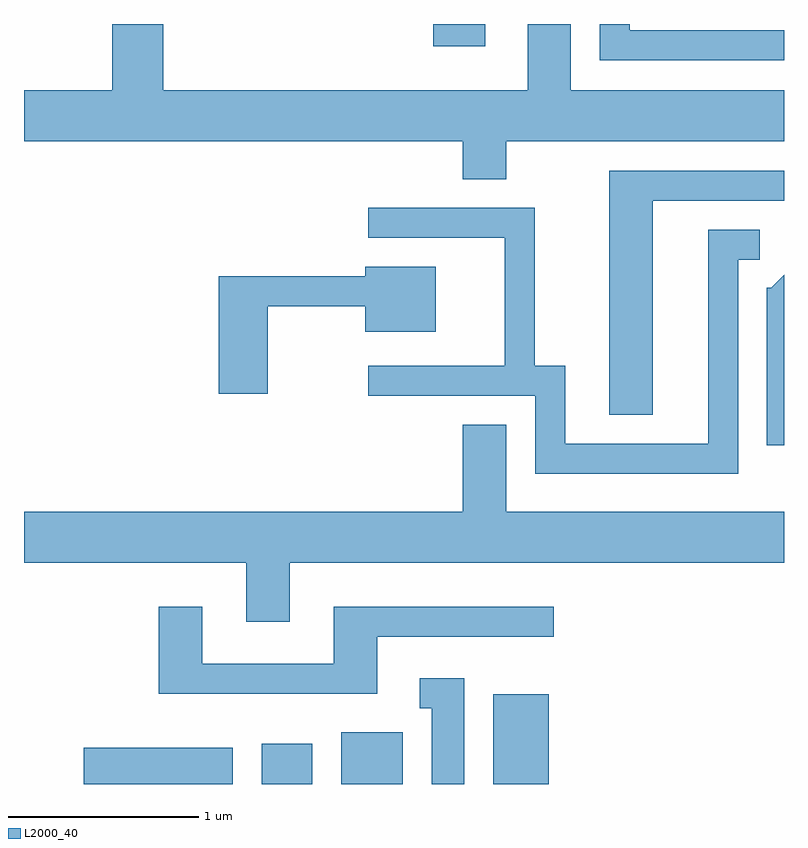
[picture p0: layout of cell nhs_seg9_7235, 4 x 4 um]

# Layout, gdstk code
import gdstk
lib = gdstk.Library(unit=1e-6, precision=1e-09)
def R(c, l, rs):  # rectangles x0, y0, x1, y1
    for r in rs: c.add(gdstk.rectangle(r[:2], r[2:], *l))
def P(c, l, *ps):  # polygons
    for p in ps: c.add(gdstk.Polygon(p, *l))
L2000_40 = (2000, 40)

nhs_seg9_7235 = lib.new_cell('nhs_seg9_7235')
R(nhs_seg9_7235, L2000_40, [(399.926,1988.432,400.709,1988.624), (400.861,1988.432,401.129,1988.644), (401.281,1988.432,401.604,1988.704), (402.081,1988.432,402.374,1988.904), (401.766,1992.316,402.038,1992.432)])
P(nhs_seg9_7235, L2000_40, [(402.149,1991.816),(403.611,1991.816),(403.611,1992.084),(402.489,1992.084),(402.489,1992.432),(402.261,1992.432),(402.261,1992.084),(400.344,1992.084),(400.344,1992.432),(400.076,1992.432),(400.076,1992.084),(399.611,1992.084),(399.611,1991.816),(401.921,1991.816),(401.921,1991.616),(402.149,1991.616)],
  [(403.611,1992.399),(402.799,1992.399),(402.799,1992.432),(402.641,1992.432),(402.641,1992.241),(403.611,1992.241)],
  [(402.919,1991.501),(403.611,1991.501),(403.611,1991.659),(402.691,1991.659),(402.691,1990.376),(402.919,1990.376)],
  [(403.369,1991.191),(403.483,1991.191),(403.483,1991.349),(403.211,1991.349),(403.211,1990.224),(402.459,1990.224),(402.459,1990.634),(402.299,1990.634),(402.299,1991.464),(401.423,1991.464),(401.423,1991.306),(402.141,1991.306),(402.141,1990.634),(401.423,1990.634),(401.423,1990.476),(402.301,1990.476),(402.301,1990.066),(403.369,1990.066)],
  [(400.894,1990.946),(401.406,1990.946),(401.406,1990.811),(401.779,1990.811),(401.779,1991.154),(401.406,1991.154),(401.406,1991.104),(400.636,1991.104),(400.636,1990.486),(400.894,1990.486)],
  [(403.611,1991.111),(403.544,1991.044),(403.521,1991.044),(403.521,1990.216),(403.611,1990.216)],
  [(401.009,1989.596),(403.611,1989.596),(403.611,1989.864),(402.149,1989.864),(402.149,1990.324),(401.921,1990.324),(401.921,1989.864),(399.611,1989.864),(399.611,1989.596),(400.781,1989.596),(400.781,1989.286),(401.009,1989.286)],
  [(401.469,1989.206),(402.398,1989.206),(402.398,1989.364),(401.241,1989.364),(401.241,1989.064),(400.549,1989.064),(400.549,1989.364),(400.321,1989.364),(400.321,1988.906),(401.469,1988.906)],
  [(401.929,1988.989),(401.693,1988.989),(401.693,1988.831),(401.756,1988.831),(401.756,1988.432),(401.929,1988.432)])

lib.write_gds('nhs_seg9_7235.gds')
